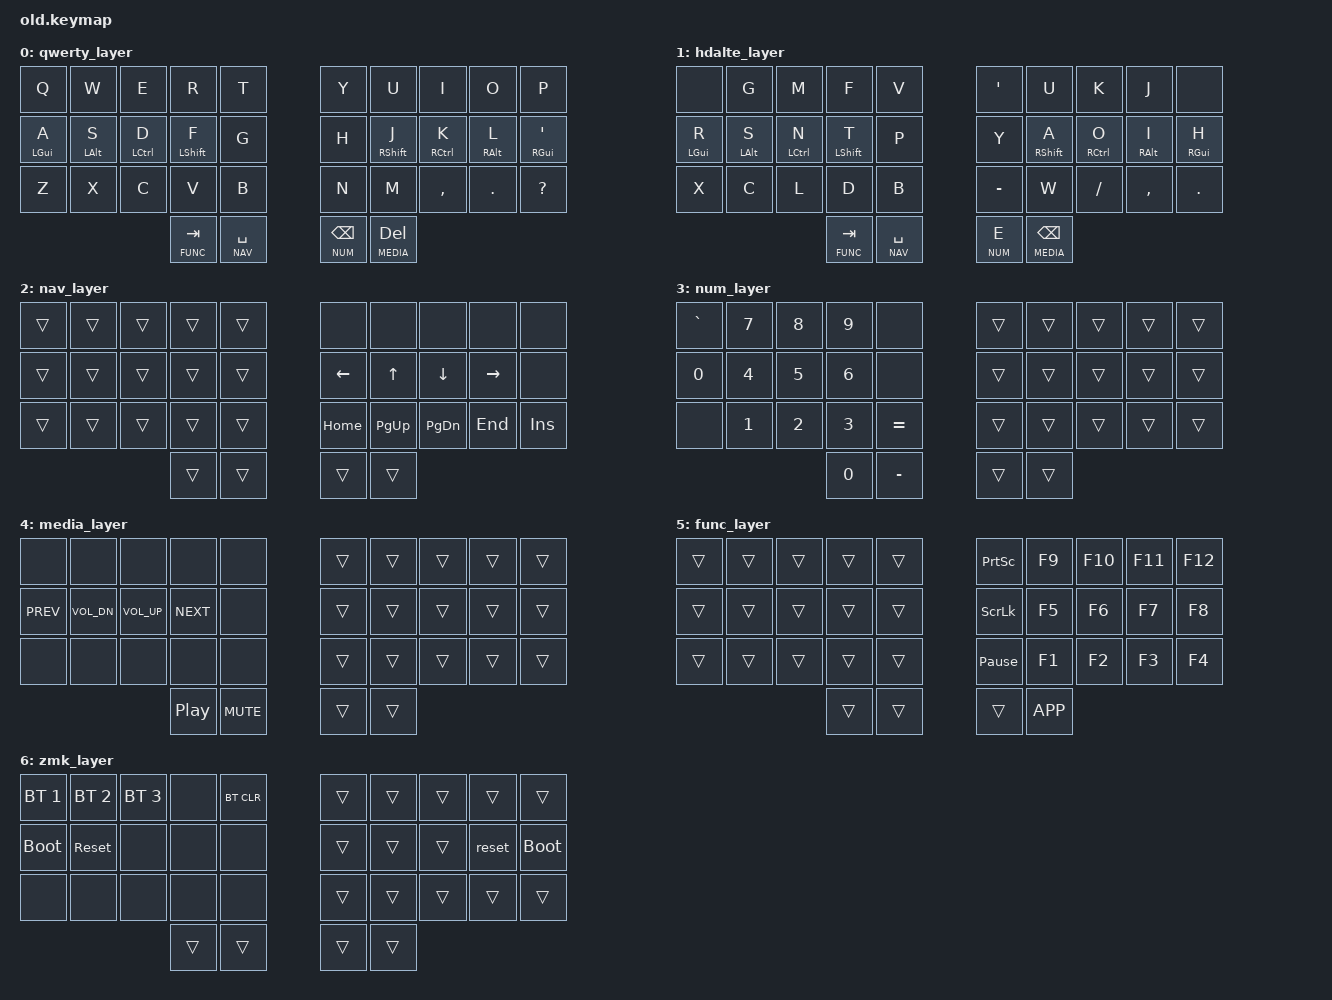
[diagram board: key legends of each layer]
/*
 * Copyright (c) 2020 The ZMK Contributors
 *
 * SPDX-License-Identifier: MIT
 */
#include <behaviors.dtsi>
#include <dt-bindings/zmk/keys.h>
#include <dt-bindings/zmk/bt.h>

#define HDALTE 1

#define NAV 2
#define NUM 3
#define MEDIA 4
#define FUNC 5
#define ZMKL 6

&caps_word{
    continue-list = <UNDERSCORE MINUS BACKSPACE>;
};

&mt {
    flavor = "tap-preferred";
    tapping_term_ms = <200>;
};

&sk {
    release-after-ms = <1000>;
};

/ {
    behaviors {
    
        //Allow for repeat space and backspace 
        //after a double-tap
        tlt: thumb_layer_tap {
            compatible = "zmk,behavior-hold-tap";
            label = "THUMB_LAYER_TAP";
            #binding-cells = <2>;
            tapping-term-ms = <200>;
            quick-tap-ms = <175>;
            flavor = "tap-preferred";
            bindings = <&mo>, <&kp>;
        };
        
        //Allow for repeat letters, enable sticky mods
        //for one handed copy pastes mainly
        hm: homerow_mods {
            compatible = "zmk,behavior-hold-tap";
            label = "HOMEROW_MODS";
            #binding-cells = <2>;
            tapping-term-ms = <200>;
            quick-tap-ms = <175>;
            flavor = "tap-preferred";
            bindings = <&sk>, <&kp>;
        };
        
        hmi: homerow_mods_index {
            compatible = "zmk,behavior-hold-tap";
            label = "HOMEROW_MODS_INDEX";
            #binding-cells = <2>;
            tapping-term-ms = <200>;
            quick-tap-ms = <175>;
            flavor = "balanced";
            bindings = <&sk>, <&kp>;
        };

        //Increase tapping term for pinky home position 
        //as they seem most likely to accidentally trigger
        hmp: homerow_mods_pinky {
            compatible = "zmk,behavior-hold-tap";
            label = "HOMEROW_MODS_PINKY";
            #binding-cells = <2>;
            tapping-term-ms = <250>;
            quick-tap-ms = <175>;
            flavor = "tap-preferred";
            bindings = <&kp>, <&kp>;
        };    
    };

        /*
        macros {
both_paren: both_paren {
    label = "ZM_both_paren";
            compatible = "zmk,behavior-macro";
            #binding-cells = <0>;
            bindings = <&kp LPAR &kp RPAR &kp LEFT>;
        };
    };
    */
    /* KEY POSITIONS
          -- from https://github.com/caksoylar/zmk-config/blob/main/config/combos.dtsi
          ╭────────────────────╮ ╭────────────────────╮
          │  0   1   2   3   4 │ │  5   6   7   8   9 │
          │ 10  11  12  13  14 │ │ 15  16  17  18  19 │
          │ 20  21  22  23  24 │ │ 25  26  27  28  29 │
          ╰───────────╮ 30  31 │ │ 32  33 ╭───────────╯
                      ╰────────╯ ╰────────╯
    */
    combos {
        compatible = "zmk,combos";

        //Thumb combos
        //Left thumb
        combo_enter {
            key-positions = <30 24>;
            bindings = <&lt ZMKL ENTER>;
        };
        
        //Right thumb
        combo_esc {
            key-positions = <25 33>;
            bindings = <&lt ZMKL ESC>;
        };
        //combo_hdalte {
        //    key-positions = <25 32 33>;
        //    bindings = <&tog HDALTE>;
        //};

        //combo_hdgold {
        //    key-positions = <24 30 31>; bindings = <&tog QWERTY>;
        //};

        //Left-hand combos
        combo_lcaps_word {
            key-positions = <13 14>;
            bindings = <&caps_word>;
        };
            
        combo_lbrace {
            key-positions = <1 11>;
            bindings = <&kp LEFT_BRACE>;
        };
        
        combo_lbracket {
            key-positions = <2 12>;
            bindings = <&kp LEFT_BRACKET>;
        };
        
        combo_lparen {
            key-positions = <3 13>;
            bindings = <&kp LPAR>;
        };
        
        combo_lthan {
            key-positions = <12 22>;
            bindings = <&kp LESS_THAN>;
        };
        
        combo_slash {
            key-positions = <13 23>;
            bindings = <&kp SLASH>;
        };
        
        
        //Right-hand combos
        combo_rcaps_word {
            key-positions = <15 16>;
            bindings = <&caps_word>;
        };
        
        combo_rbrace {
            key-positions = <8 18>;
            bindings = <&kp RIGHT_BRACE>;
        };
        
        combo_rbracket {
            key-positions = <7 17>;
            bindings = <&kp RIGHT_BRACKET>;
        };
        
        combo_rparen {
            key-positions = <6 16>;
            bindings = <&kp RIGHT_PARENTHESIS>;
        };
        
        combo_gthan {
            key-positions = <17 27>;
            bindings = <&kp GREATER_THAN>;
        };
        
        combo_bslash {
            key-positions = <16 26>;
            bindings = <&kp BACKSLASH>;
        };

        //Build a semi-colon!
        combo_semi {
    key-positions = <27 28>;
    bindings = <&kp SEMI>;
                layers = <0>;
        };
    };

    keymap {
        compatible = "zmk,keymap";

        qwerty_layer {
            bindings = <
                &kp Q           &kp W           &kp E           &kp R           &kp T                     &kp Y           &kp U           &kp I           &kp O           &kp P 
                &hmp LGUI A        &hm LALT S      &hm LCTRL D     &hmi LSHIFT F    &kp G                        &kp H           &hmi RSHIFT J    &hm RCTRL K     &hm RALT L      &hmp RGUI QUOT
                &kp Z           &kp X           &kp C           &kp V           &kp B            &kp N           &kp M           &kp CMMA        &kp DOT         &kp QUESTION
                                                                &lt FUNC TAB    &tlt NAV SPC              &tlt NUM BSPC   &lt MEDIA DEL
            >;
        };

        hdalte_layer {
            bindings = <
                &none           &kp G           &kp M           &kp F           &kp V                     &kp QUOT        &kp U           &kp K           &kp J           &none 
                &hmp LGUI R        &hm LALT S      &hm LCTRL N     &hm LSHIFT T    &kp P                        &kp Y           &hm RSHIFT A    &hm RCTRL O     &hm RALT I      &hmp RGUI H
                &kp X           &kp C           &kp L           &kp D           &kp B            &kp MINUS       &kp W           &kp SLASH       &kp CMMA        &kp DOT
                                                                &lt FUNC TAB    &tlt NAV SPC              &tlt NUM E      &lt MEDIA BSPC
            >;
        };
        

           nav_layer {
            bindings = <
                &trans          &trans          &trans          &trans          &trans               &none           &none           &none           &none           &none 
                &trans          &trans          &trans          &trans          &trans             &kp LEFT_ARROW  &kp UP_ARROW    &kp DOWN_ARROW  &kp RIGHT_ARROW &none
                &trans          &trans     &trans          &trans          &trans             &kp HOME        &kp PG_UP       &kp PG_DN       &kp END            &kp INSERT
                                                                &trans          &trans                     &trans           &trans 
        >;
        };
        
        num_layer {
            bindings = <
                &kp GRAVE        &kp N7            &kp N8            &kp N9            &none            &trans          &trans          &trans        &trans        &trans 
                &kp N0           &kp N4            &kp N5            &kp N6            &none            &trans          &trans          &trans        &trans        &trans
                &none            &kp N1            &kp N2            &kp N3            &kp EQUAL                &trans          &trans          &trans        &trans        &trans
                                                                &kp N0            &kp MINUS                  &trans            &trans 
        >;
        };    
        
        media_layer {
            bindings = <
                &none              &none            &none           &none             &none                  &trans          &trans          &trans        &trans        &trans
                &kp C_PREV      &kp C_VOL_DN    &kp C_VOL_UP    &kp C_NEXT        &none          &trans          &trans          &trans        &trans        &trans 
                &none           &none           &none           &none             &none                   &trans          &trans          &trans        &trans        &trans   
                                                                &kp C_PLAY_PAUSE  &kp C_MUTE              &trans          &trans 
        >;
        };    
        
        func_layer {
            bindings = <
                &trans            &trans            &trans            &trans        &trans            &kp PSCRN           &kp F9      &kp F10       &kp F11       &kp F12 
                &trans            &trans            &trans            &trans        &trans             &kp SLCK            &kp F5      &kp F6        &kp F7        &kp F8
                &trans            &trans            &trans            &trans        &trans            &kp PAUSE_BREAK     &kp F1      &kp F2        &kp F3        &kp F4
                                                                &trans        &trans                      &trans              &kp K_APP 
        >;
        };

        zmk_layer {
            bindings = <
                &bt BT_SEL 1    &bt BT_SEL 2    &bt BT_SEL 3    &none           &bt BT_CLR              &trans          &trans          &trans        &trans        &trans
                &bootloader     &sys_reset            &none            &none              &none              &trans          &trans          &trans        &reset        &bootloader 
                &none           &none           &none           &none           &none                   &trans          &trans          &trans        &trans        &trans   
                                                                &trans          &trans                  &trans          &trans 
        >;
        };
    };
};
